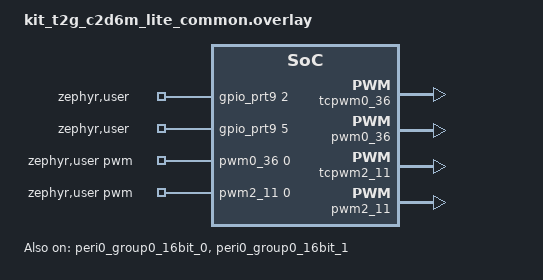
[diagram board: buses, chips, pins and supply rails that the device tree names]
/*
 * SPDX-FileCopyrightText: Copyright (c) 2026 Linumiz
 *
 * SPDX-License-Identifier: Apache-2.0
 */

#include <zephyr/dt-bindings/gpio/gpio.h>
#include <zephyr/dt-bindings/pwm/pwm.h>

/ {
	zephyr,user {
		pwms = <&pwm0_36 0 PWM_MSEC(5) PWM_POLARITY_NORMAL>,
		       <&pwm2_11 0 PWM_MSEC(5) PWM_POLARITY_NORMAL>;
		gpios = <&gpio_prt9 2 GPIO_ACTIVE_HIGH>,
			<&gpio_prt9 5 GPIO_ACTIVE_HIGH>;
	};
};

&clk_peri0 {
	status = "okay";
};

&gpio_prt9 {
	status = "okay";
};

&peri0_group0_16bit_0 {
	status = "okay";
};

&tcpwm0_36 {
	clock-frequency = <1000000>;
	status = "okay";
};

&pwm0_36 {
	clocks = <&peri0_group0_16bit_0>;
	pinctrl-0 = <&p9_3_pwm0_36>;
	pinctrl-names = "default";
	status = "okay";
};

&peri0_group0_16bit_1 {
	status = "okay";
};

&tcpwm2_11 {
	clock-frequency = <1000000>;
	status = "okay";
};

&pwm2_11 {
	clocks = <&peri0_group0_16bit_1>;
	pinctrl-0 = <&p15_5_pwm2_11>;
	pinctrl-names = "default";
	status = "okay";
};
